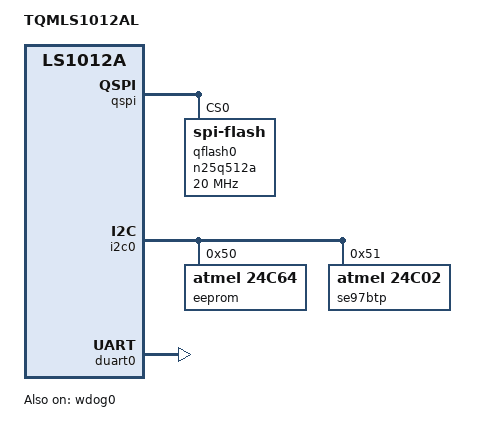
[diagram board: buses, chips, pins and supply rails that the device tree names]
/* SPDX-License-Identifier: GPL-2.0+ */
/*
 * Device Tree file for TQMLS1012AL
 *
 * (C) Copyright 2018 TQ Systems GmbH
 * Max Merchel <Max.Merchel@tq-group.com>
 */

/include/ "fsl-ls1012a.dtsi"

/ {
	model = "TQMLS1012AL";
	aliases {
		spi0 = &qspi;
	};

	wdog0: wdog@2ad0000 {
		compatible = "fsl,ls1012a-wdt", "fsl,imx21-wdt";
		reg = <0x2ad0000 0x10000>;
		interrupts = <0 83 4>;
		clocks = <&clockgen 4 0>;
		big-endian;
		status = "okay";
	};
};

&qspi {
	bus-num = <0>;
	status = "okay";

	qflash0: n25q512a@0 {
		#address-cells = <1>;
		#size-cells = <1>;
		compatible = "spi-flash";
		spi-max-frequency = <20000000>;
		reg = <0>;
	};
};

&i2c0 {
	status = "okay";

	eeprom: 24c64@50 {
		compatible = "atmel,24c64";
		reg = <0x50>;
		pagesize = <32>;
		u-boot,i2c-offset-len = <2>;
	};

	se97btp: 24c02@51 {
		compatible = "atmel,24c02";
		pagesize = <16>;
		reg = <0x51>;
	};
};

&duart0 {
	status = "okay";
};
